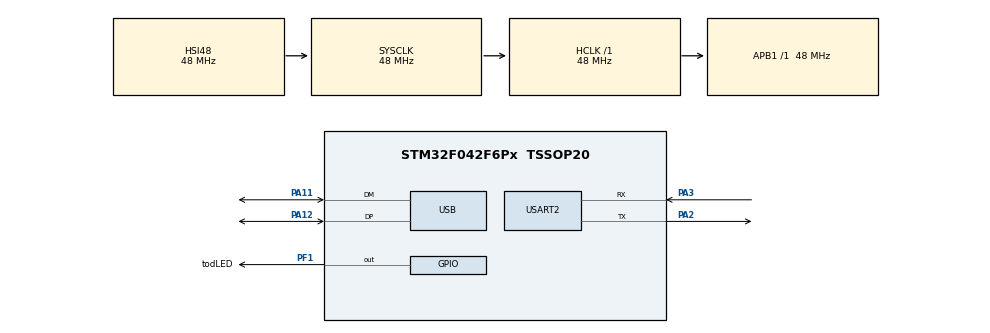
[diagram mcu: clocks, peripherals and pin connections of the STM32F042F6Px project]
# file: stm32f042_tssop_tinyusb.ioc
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Mcu.Family=STM32F0
Mcu.Name=STM32F042F6Px
Mcu.Package=TSSOP20
NVIC.USB_IRQn=true\:0\:0\:false\:false\:true\:true\:true\:true
PA11.Mode=Device
PA11.Signal=USB_DM
PA12.Mode=Device
PA12.Signal=USB_DP
PA2.Mode=Asynchronous
PA2.Signal=USART2_TX
PA3.Mode=Asynchronous
PA3.Signal=USART2_RX
PF1-OSC_OUT.GPIO_Label=todLED
PF1-OSC_OUT.Signal=GPIO_Output
ProjectManager.HeapSize=0x200
ProjectManager.StackSize=0x400
ProjectManager.TargetToolchain=Makefile
RCC.AHBFreq_Value=48000000
RCC.APB1Freq_Value=48000000
RCC.APB1TimFreq_Value=48000000
RCC.HCLKFreq_Value=48000000
RCC.SYSCLKFreq_VALUE=48000000
RCC.SYSCLKSource=RCC_SYSCLKSOURCE_HSI48
USART2.VirtualMode-Asynchronous=VM_ASYNC
VP_SYS_VS_PINREMAP.Mode=PINREMAP
board=custom

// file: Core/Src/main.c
/* USER CODE BEGIN Header */
/**
  ******************************************************************************
  * @file           : main.c
  * @brief          : Main program body
  ******************************************************************************
  * @attention
  *
  * Copyright (c) 2025 STMicroelectronics.
  * All rights reserved.
  *
  * This software is licensed under terms that can be found in the LICENSE file
  * in the root directory of this software component.
  * If no LICENSE file comes with this software, it is provided AS-IS.
  *
  ******************************************************************************
  */
/* USER CODE END Header */
#include "main.h"

/* USER CODE BEGIN Includes */

#include "tusb.h"

/* USER CODE END Includes */

UART_HandleTypeDef huart2;

PCD_HandleTypeDef hpcd_USB_FS;

void SystemClock_Config(void);
static void MX_GPIO_Init(void);
static void MX_USB_PCD_Init(void);
static void MX_USART2_UART_Init(void);

/* USER CODE BEGIN 0 */

// enable printf() to work
int __io_putchar(int ch) {
  HAL_UART_Transmit(&huart2, (uint8_t*)&ch, 1, HAL_MAX_DELAY);
  return ch;
}

// Invoked when received GET_REPORT control request
// Application must fill buffer report's content and return its length.
// Return zero will cause the stack to STALL request
uint16_t tud_hid_get_report_cb(uint8_t instance, uint8_t report_id,
                               hid_report_type_t report_type, uint8_t *buffer,
                               uint16_t reqlen) {
  // TODO not Implemented
  (void)instance;
  (void)report_id;
  (void)report_type;
  (void)buffer;
  (void)reqlen;

  printf("GET REPORT: rId:%d type:%d reqlen:%d\r\n", report_id, report_type, reqlen);
  for( int i=0; i<reqlen; i++) {
    buffer[i] = i;  // return back some data
  }
  return reqlen;  // we filled it up
  //return 0;
}

// Invoked when received SET_REPORT control request or
// received data on OUT endpoint ( Report ID = 0, Type = 0 )
void tud_hid_set_report_cb(uint8_t instance, uint8_t report_id,
                           hid_report_type_t report_type, uint8_t const *buffer,
                           uint16_t bufsize)
{
  printf("SET REPORT: rId:%d type:%d bufsize:%d\r\n", report_id, report_type, bufsize);
  printf("report: ");
  for(int i=0; i<bufsize; i++) {
    printf("%02X ", buffer[i]);
  }
  printf("\r\n");
}

/* USER CODE END 0 */

int main(void)
{

  /* MCU Configuration--------------------------------------------------------*/

  /* Reset of all peripherals, Initializes the Flash interface and the Systick. */
  HAL_Init();

  /* Configure the system clock */
  SystemClock_Config();

  /* Initialize all configured peripherals */
  MX_GPIO_Init();
  MX_USB_PCD_Init();
  MX_USART2_UART_Init();
  /* USER CODE BEGIN 2 */

  printf("hello there! %ld\r\n", HAL_GetTick());

  tusb_init();

  printf("hello there! after tusb_init %ld\r\n", HAL_GetTick());

  uint32_t last_millis = 0;

  /* USER CODE END 2 */

  /* Infinite loop */
  while (1)
  {

    /* USER CODE BEGIN 3 */

    tud_task();

    if (HAL_GetTick() - last_millis > 1000) {
      last_millis = HAL_GetTick();
      printf("looooppp %ld\r\n", last_millis);
    }

  }
  /* USER CODE END 3 */
}

void SystemClock_Config(void)
{
  RCC_OscInitTypeDef RCC_OscInitStruct = {0};
  RCC_ClkInitTypeDef RCC_ClkInitStruct = {0};
  RCC_PeriphCLKInitTypeDef PeriphClkInit = {0};

  /** Initializes the RCC Oscillators according to the specified parameters
  * in the RCC_OscInitTypeDef structure.
  */
  RCC_OscInitStruct.OscillatorType = RCC_OSCILLATORTYPE_HSI48;
  RCC_OscInitStruct.HSI48State = RCC_HSI48_ON;
  RCC_OscInitStruct.PLL.PLLState = RCC_PLL_NONE;
  if (HAL_RCC_OscConfig(&RCC_OscInitStruct) != HAL_OK)
  {
    Error_Handler();
  }

  /** Initializes the CPU, AHB and APB buses clocks
  */
  RCC_ClkInitStruct.ClockType = RCC_CLOCKTYPE_HCLK|RCC_CLOCKTYPE_SYSCLK
                              |RCC_CLOCKTYPE_PCLK1;
  RCC_ClkInitStruct.SYSCLKSource = RCC_SYSCLKSOURCE_HSI48;
  RCC_ClkInitStruct.AHBCLKDivider = RCC_SYSCLK_DIV1;
  RCC_ClkInitStruct.APB1CLKDivider = RCC_HCLK_DIV1;

  if (HAL_RCC_ClockConfig(&RCC_ClkInitStruct, FLASH_LATENCY_1) != HAL_OK)
  {
    Error_Handler();
  }
  PeriphClkInit.PeriphClockSelection = RCC_PERIPHCLK_USB;
  PeriphClkInit.UsbClockSelection = RCC_USBCLKSOURCE_HSI48;

  if (HAL_RCCEx_PeriphCLKConfig(&PeriphClkInit) != HAL_OK)
  {
    Error_Handler();
  }
}

static void MX_USART2_UART_Init(void)
{

  huart2.Instance = USART2;
  huart2.Init.BaudRate = 38400;
  huart2.Init.WordLength = UART_WORDLENGTH_8B;
  huart2.Init.StopBits = UART_STOPBITS_1;
  huart2.Init.Parity = UART_PARITY_NONE;
  huart2.Init.Mode = UART_MODE_TX_RX;
  huart2.Init.HwFlowCtl = UART_HWCONTROL_NONE;
  huart2.Init.OverSampling = UART_OVERSAMPLING_16;
  huart2.Init.OneBitSampling = UART_ONE_BIT_SAMPLE_DISABLE;
  huart2.AdvancedInit.AdvFeatureInit = UART_ADVFEATURE_NO_INIT;
  if (HAL_UART_Init(&huart2) != HAL_OK)
  {
    Error_Handler();
  }

}

static void MX_USB_PCD_Init(void)
{

  hpcd_USB_FS.Instance = USB;
  hpcd_USB_FS.Init.dev_endpoints = 8;
  hpcd_USB_FS.Init.speed = PCD_SPEED_FULL;
  hpcd_USB_FS.Init.phy_itface = PCD_PHY_EMBEDDED;
  hpcd_USB_FS.Init.low_power_enable = DISABLE;
  hpcd_USB_FS.Init.lpm_enable = DISABLE;
  hpcd_USB_FS.Init.battery_charging_enable = DISABLE;
  if (HAL_PCD_Init(&hpcd_USB_FS) != HAL_OK)
  {
    Error_Handler();
  }

}

static void MX_GPIO_Init(void)
{
  GPIO_InitTypeDef GPIO_InitStruct = {0};

  /* GPIO Ports Clock Enable */
  __HAL_RCC_GPIOF_CLK_ENABLE();
  __HAL_RCC_GPIOA_CLK_ENABLE();
  __HAL_RCC_GPIOB_CLK_ENABLE();

  /*Configure GPIO pin Output Level */
  HAL_GPIO_WritePin(todLED_GPIO_Port, todLED_Pin, GPIO_PIN_RESET);

  /*Configure GPIO pin : todLED_Pin */
  GPIO_InitStruct.Pin = todLED_Pin;
  GPIO_InitStruct.Mode = GPIO_MODE_OUTPUT_PP;
  GPIO_InitStruct.Pull = GPIO_NOPULL;
  GPIO_InitStruct.Speed = GPIO_SPEED_FREQ_LOW;
  HAL_GPIO_Init(todLED_GPIO_Port, &GPIO_InitStruct);

}

void Error_Handler(void)
{
  __disable_irq();
  while (1)
  {
  }
}
